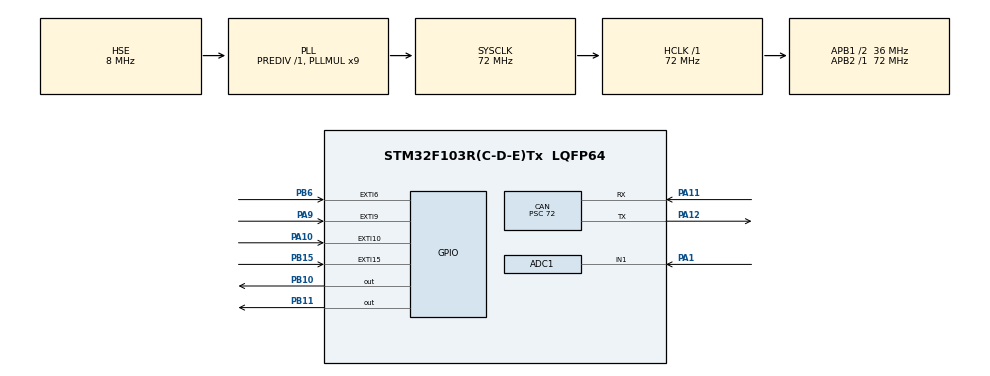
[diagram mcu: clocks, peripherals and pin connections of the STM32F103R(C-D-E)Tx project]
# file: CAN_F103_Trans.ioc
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ADC1.Channel-0\#ChannelRegularConversion=ADC_CHANNEL_1
ADC1.ContinuousConvMode=ENABLE
ADC1.NbrOfConversionFlag=1
ADC1.Rank-0\#ChannelRegularConversion=1
ADC1.SamplingTime-0\#ChannelRegularConversion=ADC_SAMPLETIME_239CYCLES_5
ADC1.master=1
CAN.ABOM=ENABLE
CAN.AWUM=ENABLE
CAN.BS1=CAN_BS1_2TQ
CAN.BS2=CAN_BS2_2TQ
CAN.CalculateBaudRate=100000
CAN.CalculateTimeBit=10000
CAN.CalculateTimeQuantum=2000.0
CAN.Prescaler=72
Dma.ADC1.0.Direction=DMA_PERIPH_TO_MEMORY
Dma.ADC1.0.Instance=DMA1_Channel1
Dma.ADC1.0.MemDataAlignment=DMA_MDATAALIGN_WORD
Dma.ADC1.0.MemInc=DMA_MINC_ENABLE
Dma.ADC1.0.Mode=DMA_CIRCULAR
Dma.ADC1.0.PeriphDataAlignment=DMA_PDATAALIGN_WORD
Dma.ADC1.0.PeriphInc=DMA_PINC_DISABLE
Dma.ADC1.0.Priority=DMA_PRIORITY_LOW
Dma.Request0=ADC1
Mcu.Family=STM32F1
Mcu.Name=STM32F103R(C-D-E)Tx
Mcu.Package=LQFP64
NVIC.ADC1_2_IRQn=true\:0\:0\:false\:false\:true\:true\:true\:true
NVIC.DMA1_Channel1_IRQn=true\:0\:0\:false\:false\:true\:false\:true\:true
NVIC.EXTI15_10_IRQn=true\:0\:0\:false\:false\:true\:true\:true\:true
NVIC.EXTI9_5_IRQn=true\:0\:0\:false\:false\:true\:true\:true\:true
NVIC.PriorityGroup=NVIC_PRIORITYGROUP_4
NVIC.USB_HP_CAN1_TX_IRQn=true\:0\:0\:false\:false\:true\:true\:true\:true
NVIC.USB_LP_CAN1_RX0_IRQn=true\:0\:0\:false\:false\:true\:true\:true\:true
PA1.Signal=ADCx_IN1
PA10.GPIO_ModeDefaultEXTI=GPIO_MODE_IT_FALLING
PA10.GPIO_PuPd=GPIO_PULLUP
PA10.Signal=GPXTI10
PA11.GPIO_PuPd=GPIO_PULLUP
PA11.Mode=CAN_Activate
PA11.Signal=CAN_RX
PA12.Mode=CAN_Activate
PA12.Signal=CAN_TX
PA13.Mode=Serial_Wire
PA13.Signal=SYS_JTMS-SWDIO
PA14.Mode=Serial_Wire
PA14.Signal=SYS_JTCK-SWCLK
PA9.GPIO_ModeDefaultEXTI=GPIO_MODE_IT_FALLING
PA9.GPIO_PuPd=GPIO_PULLUP
PA9.Signal=GPXTI9
PB10.Signal=GPIO_Output
PB11.Signal=GPIO_Output
PB15.GPIO_ModeDefaultEXTI=GPIO_MODE_IT_FALLING
PB15.GPIO_PuPd=GPIO_PULLUP
PB15.Signal=GPXTI15
PB6.GPIO_ModeDefaultEXTI=GPIO_MODE_IT_FALLING
PB6.GPIO_PuPd=GPIO_PULLUP
PB6.Signal=GPXTI6
PD0-OSC_IN.Mode=HSE-External-Oscillator
PD0-OSC_IN.Signal=RCC_OSC_IN
PD1-OSC_OUT.Mode=HSE-External-Oscillator
PD1-OSC_OUT.Signal=RCC_OSC_OUT
ProjectManager.HeapSize=0x200
ProjectManager.StackSize=0x400
ProjectManager.TargetToolchain=STM32CubeIDE
RCC.ADCPresc=RCC_ADCPCLK2_DIV6
RCC.AHBFreq_Value=72000000
RCC.APB1CLKDivider=RCC_HCLK_DIV2
RCC.APB1Freq_Value=36000000
RCC.APB1TimFreq_Value=72000000
RCC.APB2Freq_Value=72000000
RCC.APB2TimFreq_Value=72000000
RCC.HCLKFreq_Value=72000000
RCC.PLLMUL=RCC_PLL_MUL9
RCC.PLLSourceVirtual=RCC_PLLSOURCE_HSE
RCC.SYSCLKFreq_VALUE=72000000
RCC.SYSCLKSource=RCC_SYSCLKSOURCE_PLLCLK
RCC.USBFreq_Value=72000000
SH.ADCx_IN1.0=ADC1_IN1,IN1
board=custom

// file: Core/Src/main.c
/* USER CODE BEGIN Header */
/**
  ******************************************************************************
  * @file           : main.c
  * @brief          : Main program body
  ******************************************************************************
  * @attention
  *
  * Copyright (c) 2025 STMicroelectronics.
  * All rights reserved.
  *
  * This software is licensed under terms that can be found in the LICENSE file
  * in the root directory of this software component.
  * If no LICENSE file comes with this software, it is provided AS-IS.
  *
  ******************************************************************************
  */
/* USER CODE END Header */
#include "main.h"

ADC_HandleTypeDef hadc1;
DMA_HandleTypeDef hdma_adc1;

CAN_HandleTypeDef hcan;

/* USER CODE BEGIN PV */
#define DEBOUNCE_DELAY 200
/* USER CODE END PV */

void SystemClock_Config(void);
static void MX_GPIO_Init(void);
static void MX_DMA_Init(void);
static void MX_CAN_Init(void);
static void MX_ADC1_Init(void);
/* USER CODE BEGIN PFP */

CAN_TxHeaderTypeDef tx_header;
uint32_t TxMailbox;
uint8_t tx_buffer[8] = {0};    // dữ liệu gửi CAN
uint32_t VR[1] = {0};           // ADC DMA buffer
volatile uint8_t send_flag = 0; // cờ báo có dữ liệu mới cần gửi
volatile uint8_t blink_pb11 = 0, blink_pb10 = 0;
volatile uint32_t last_toggle_pb11 = 0, last_toggle_pb10 = 0;
volatile uint32_t last_interrupt_time = 0;
uint32_t now = 0;
volatile GPIO_PinState hall = GPIO_PIN_RESET, hall_last_state = GPIO_PIN_RESET;
uint8_t test_start = 0;

/* USER CODE END PFP */

/* USER CODE BEGIN 0 */
void CAN_filter_config_init(void) {
    CAN_FilterTypeDef canfilterconfig;

    canfilterconfig.FilterActivation = CAN_FILTER_ENABLE;
    canfilterconfig.FilterBank = 0;
    canfilterconfig.FilterFIFOAssignment = CAN_FILTER_FIFO0;
    canfilterconfig.FilterIdHigh = 0x446 << 5;
    canfilterconfig.FilterIdLow = 0x0000;
    canfilterconfig.FilterMaskIdHigh = 0x7FF << 5;
    canfilterconfig.FilterMaskIdLow = 0x0000;
    canfilterconfig.FilterMode = CAN_FILTERMODE_IDMASK;
    canfilterconfig.FilterScale = CAN_FILTERSCALE_32BIT;

    if (HAL_CAN_ConfigFilter(&hcan, &canfilterconfig) != HAL_OK) {
        Error_Handler();
    }
}

void CAN_transmit_init(void) {
	tx_header.DLC = 8;
    tx_header.IDE = CAN_ID_STD;
    tx_header.RTR = CAN_RTR_DATA;
    tx_header.StdId = 0x222;

}

void transmit_data_block(void) {
    if (send_flag == 1) {
        HAL_StatusTypeDef status = HAL_CAN_AddTxMessage(&hcan, &tx_header, (uint8_t *)tx_buffer, &TxMailbox);
        if (status != HAL_OK) {
            Error_Handler();
        }
    }
    send_flag = 0;
}

/**
 * @brief  Callback EXTI để xử lý nút nhấn và cảm biến Hall.
 */
void HAL_GPIO_EXTI_Callback(uint16_t GPIO_Pin) {
    uint32_t now = HAL_GetTick();
    if ((now - last_interrupt_time) < DEBOUNCE_DELAY) return;
    last_interrupt_time = now;

    switch (GPIO_Pin) {
        case GPIO_PIN_6:
            hall = HAL_GPIO_ReadPin(GPIOB, GPIO_PIN_6);
            if (hall != hall_last_state) {
                hall_last_state = hall;
                tx_buffer[2] = (hall == GPIO_PIN_SET) ? 1 : 0;
                send_flag = 1;
            }
            break;
        case GPIO_PIN_10:
            blink_pb11 ^= 1;
            tx_buffer[0] = 1;
            send_flag = 1;
            break;
        case GPIO_PIN_9:
            blink_pb10 ^= 1;
            tx_buffer[0] = 2;
            send_flag = 1;
            break;
        case GPIO_PIN_15:
            blink_pb10 ^= 1;
            blink_pb11 ^= 1;
            tx_buffer[0] = 3;
            send_flag = 1;
            break;
    }
}

/**
 * @brief  Callback của ADC DMA khi chuyển đổi hoàn thành.
 */
void HAL_ADC_ConvCpltCallback(ADC_HandleTypeDef* hadc) {
    if (VR[0] < 50) {
    	tx_buffer[1] = 0;
    	 send_flag = 1;
    }
    else if (VR[0] > 4000){
    	tx_buffer[1] = 1;
    	send_flag = 1;
    }
    HAL_ADC_Start_DMA(&hadc1, VR, 1);
}

/* USER CODE END 0 */

int main(void)
{

  /* MCU Configuration--------------------------------------------------------*/

  /* Reset of all peripherals, Initializes the Flash interface and the Systick. */
  HAL_Init();

  /* Configure the system clock */
  SystemClock_Config();

  /* Initialize all configured peripherals */
  MX_GPIO_Init();
  MX_DMA_Init();
  MX_CAN_Init();
  MX_ADC1_Init();
  /* USER CODE BEGIN 2 */
  	  CAN_transmit_init();
      CAN_filter_config_init();
      if (HAL_CAN_Start(&hcan) == HAL_OK){
    	  test_start = 1;
      }
      HAL_ADC_Start_DMA(&hadc1, VR, 1);
  /* USER CODE END 2 */

  /* Infinite loop */
  /* USER CODE BEGIN WHILE */
  while (1)
  {
	  transmit_data_block();
	  HAL_Delay(100);
	         now = HAL_GetTick();
	        if (blink_pb11 && ((now - last_toggle_pb11) >= 500)) {
	            last_toggle_pb11 = now;
	            HAL_GPIO_TogglePin(GPIOB, GPIO_PIN_11);
	        }
	        if (blink_pb10 && ((now - last_toggle_pb10) >= 500)) {
	            last_toggle_pb10 = now;
	            HAL_GPIO_TogglePin(GPIOB, GPIO_PIN_10);
	        }
    /* USER CODE END WHILE */

  }
}

void SystemClock_Config(void)
{
  RCC_OscInitTypeDef RCC_OscInitStruct = {0};
  RCC_ClkInitTypeDef RCC_ClkInitStruct = {0};
  RCC_PeriphCLKInitTypeDef PeriphClkInit = {0};

  /** Initializes the RCC Oscillators according to the specified parameters
  * in the RCC_OscInitTypeDef structure.
  */
  RCC_OscInitStruct.OscillatorType = RCC_OSCILLATORTYPE_HSE;
  RCC_OscInitStruct.HSEState = RCC_HSE_ON;
  RCC_OscInitStruct.HSEPredivValue = RCC_HSE_PREDIV_DIV1;
  RCC_OscInitStruct.HSIState = RCC_HSI_ON;
  RCC_OscInitStruct.PLL.PLLState = RCC_PLL_ON;
  RCC_OscInitStruct.PLL.PLLSource = RCC_PLLSOURCE_HSE;
  RCC_OscInitStruct.PLL.PLLMUL = RCC_PLL_MUL9;
  if (HAL_RCC_OscConfig(&RCC_OscInitStruct) != HAL_OK)
  {
    Error_Handler();
  }

  /** Initializes the CPU, AHB and APB buses clocks
  */
  RCC_ClkInitStruct.ClockType = RCC_CLOCKTYPE_HCLK|RCC_CLOCKTYPE_SYSCLK
                              |RCC_CLOCKTYPE_PCLK1|RCC_CLOCKTYPE_PCLK2;
  RCC_ClkInitStruct.SYSCLKSource = RCC_SYSCLKSOURCE_PLLCLK;
  RCC_ClkInitStruct.AHBCLKDivider = RCC_SYSCLK_DIV1;
  RCC_ClkInitStruct.APB1CLKDivider = RCC_HCLK_DIV2;
  RCC_ClkInitStruct.APB2CLKDivider = RCC_HCLK_DIV1;

  if (HAL_RCC_ClockConfig(&RCC_ClkInitStruct, FLASH_LATENCY_2) != HAL_OK)
  {
    Error_Handler();
  }
  PeriphClkInit.PeriphClockSelection = RCC_PERIPHCLK_ADC;
  PeriphClkInit.AdcClockSelection = RCC_ADCPCLK2_DIV6;
  if (HAL_RCCEx_PeriphCLKConfig(&PeriphClkInit) != HAL_OK)
  {
    Error_Handler();
  }
}

static void MX_ADC1_Init(void)
{

  ADC_ChannelConfTypeDef sConfig = {0};

  /** Common config
  */
  hadc1.Instance = ADC1;
  hadc1.Init.ScanConvMode = ADC_SCAN_DISABLE;
  hadc1.Init.ContinuousConvMode = ENABLE;
  hadc1.Init.DiscontinuousConvMode = DISABLE;
  hadc1.Init.ExternalTrigConv = ADC_SOFTWARE_START;
  hadc1.Init.DataAlign = ADC_DATAALIGN_RIGHT;
  hadc1.Init.NbrOfConversion = 1;
  if (HAL_ADC_Init(&hadc1) != HAL_OK)
  {
    Error_Handler();
  }

  /** Configure Regular Channel
  */
  sConfig.Channel = ADC_CHANNEL_1;
  sConfig.Rank = ADC_REGULAR_RANK_1;
  sConfig.SamplingTime = ADC_SAMPLETIME_239CYCLES_5;
  if (HAL_ADC_ConfigChannel(&hadc1, &sConfig) != HAL_OK)
  {
    Error_Handler();
  }

}

static void MX_CAN_Init(void)
{

  hcan.Instance = CAN1;
  hcan.Init.Prescaler = 72;
  hcan.Init.Mode = CAN_MODE_NORMAL;
  hcan.Init.SyncJumpWidth = CAN_SJW_1TQ;
  hcan.Init.TimeSeg1 = CAN_BS1_2TQ;
  hcan.Init.TimeSeg2 = CAN_BS2_2TQ;
  hcan.Init.TimeTriggeredMode = DISABLE;
  hcan.Init.AutoBusOff = ENABLE;
  hcan.Init.AutoWakeUp = ENABLE;
  hcan.Init.AutoRetransmission = DISABLE;
  hcan.Init.ReceiveFifoLocked = DISABLE;
  hcan.Init.TransmitFifoPriority = DISABLE;
  if (HAL_CAN_Init(&hcan) != HAL_OK)
  {
    Error_Handler();
  }

}

static void MX_DMA_Init(void)
{

  /* DMA controller clock enable */
  __HAL_RCC_DMA1_CLK_ENABLE();

  /* DMA interrupt init */
  /* DMA1_Channel1_IRQn interrupt configuration */
  HAL_NVIC_SetPriority(DMA1_Channel1_IRQn, 0, 0);
  HAL_NVIC_EnableIRQ(DMA1_Channel1_IRQn);

}

static void MX_GPIO_Init(void)
{
  GPIO_InitTypeDef GPIO_InitStruct = {0};

  /* GPIO Ports Clock Enable */
  __HAL_RCC_GPIOD_CLK_ENABLE();
  __HAL_RCC_GPIOA_CLK_ENABLE();
  __HAL_RCC_GPIOB_CLK_ENABLE();

  /*Configure GPIO pin Output Level */
  HAL_GPIO_WritePin(GPIOB, GPIO_PIN_10|GPIO_PIN_11, GPIO_PIN_RESET);

  /*Configure GPIO pins : PB10 PB11 */
  GPIO_InitStruct.Pin = GPIO_PIN_10|GPIO_PIN_11;
  GPIO_InitStruct.Mode = GPIO_MODE_OUTPUT_PP;
  GPIO_InitStruct.Pull = GPIO_NOPULL;
  GPIO_InitStruct.Speed = GPIO_SPEED_FREQ_LOW;
  HAL_GPIO_Init(GPIOB, &GPIO_InitStruct);

  /*Configure GPIO pins : PB15 PB6 */
  GPIO_InitStruct.Pin = GPIO_PIN_15|GPIO_PIN_6;
  GPIO_InitStruct.Mode = GPIO_MODE_IT_FALLING;
  GPIO_InitStruct.Pull = GPIO_PULLUP;
  HAL_GPIO_Init(GPIOB, &GPIO_InitStruct);

  /*Configure GPIO pins : PA9 PA10 */
  GPIO_InitStruct.Pin = GPIO_PIN_9|GPIO_PIN_10;
  GPIO_InitStruct.Mode = GPIO_MODE_IT_FALLING;
  GPIO_InitStruct.Pull = GPIO_PULLUP;
  HAL_GPIO_Init(GPIOA, &GPIO_InitStruct);

  /* EXTI interrupt init*/
  HAL_NVIC_SetPriority(EXTI9_5_IRQn, 0, 0);
  HAL_NVIC_EnableIRQ(EXTI9_5_IRQn);

  HAL_NVIC_SetPriority(EXTI15_10_IRQn, 0, 0);
  HAL_NVIC_EnableIRQ(EXTI15_10_IRQn);

}

void Error_Handler(void)
{
  __disable_irq();
  while (1)
  {
  }
}
